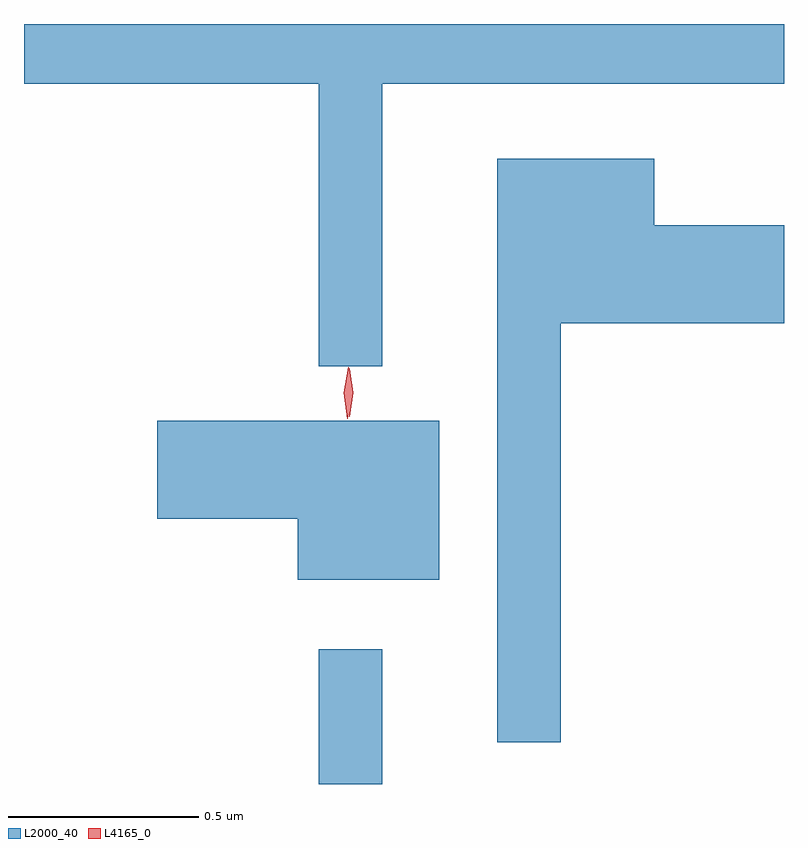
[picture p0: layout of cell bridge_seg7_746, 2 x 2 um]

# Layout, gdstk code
import gdstk
lib = gdstk.Library(unit=1e-6, precision=1e-09)
def R(c, l, rs):  # rectangles x0, y0, x1, y1
    for r in rs: c.add(gdstk.rectangle(r[:2], r[2:], *l))
def P(c, l, *ps):  # polygons
    for p in ps: c.add(gdstk.Polygon(p, *l))
L2000_40 = (2000, 40)
L4165_0 = (4165, 0)

bridge_seg7_746 = lib.new_cell('bridge_seg7_746')
R(bridge_seg7_746, L2000_40, [(525.781,1770.193,525.949,1770.548)])
P(bridge_seg7_746, L2000_40, [(525.949,1772.036),(527.006,1772.036),(527.006,1772.193),(525.006,1772.193),(525.006,1772.036),(525.781,1772.036),(525.781,1771.293),(525.949,1771.293)],
  [(526.419,1771.406),(527.006,1771.406),(527.006,1771.664),(526.664,1771.664),(526.664,1771.839),(526.251,1771.839),(526.251,1770.303),(526.419,1770.303)],
  [(526.099,1771.149),(525.356,1771.149),(525.356,1770.891),(525.726,1770.891),(525.726,1770.731),(526.099,1770.731)])
P(bridge_seg7_746, L4165_0, [(525.862,1771.16),(525.862,1771.16),(525.852,1771.223),(525.862,1771.286),(525.862,1771.287),(525.863,1771.286),(525.872,1771.223),(525.863,1771.16)],
  [(525.857,1771.154),(525.857,1771.154),(525.848,1771.222),(525.859,1771.29),(525.859,1771.29),(525.86,1771.29),(525.868,1771.222),(525.858,1771.154)])

lib.write_gds('bridge_seg7_746.gds')
